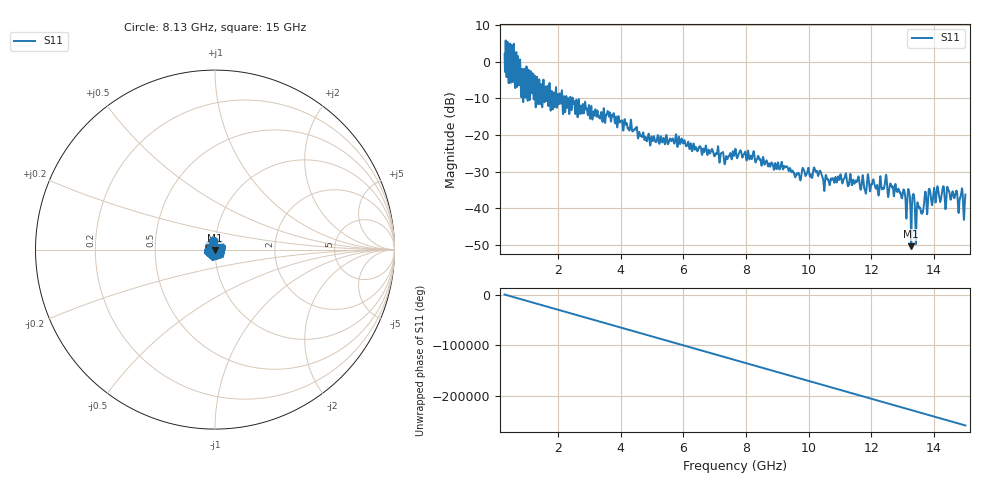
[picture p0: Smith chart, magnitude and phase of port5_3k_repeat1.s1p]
# GHZ S RI R 50.0
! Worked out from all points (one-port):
!   12801 points, 300 MHz to 15 GHz, reference 50 ohm
!   lowest |S11| = -50.4 dB at 13.27 GHz (marker M1), VSWR 1.01, Z = 49.8 - j0.197 ohm
!   |S11| at or under -10 dB: 2.33 GHz to 2.393 GHz (62.26 MHz wide, 2.64 % of centre); 2.403 GHz to 2.465 GHz (61.52 MHz wide, 2.53 % of centre); 2.475 GHz to end of sweep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
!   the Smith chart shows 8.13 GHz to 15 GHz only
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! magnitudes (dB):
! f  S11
! 300 MHz  2.1
! 490.6 MHz  -2.4
! 535.4 MHz  1.4
! 690.5 MHz  -5.6
! 734.1 MHz  -0.4
! 897.2 MHz  -10.8
! 1.193 GHz  -3.4
! 1.303 GHz  -11.9
! 2.138 GHz  -9.6
! 3.975 GHz  -16.6
! 4.805 GHz  -20.9
! 5.812 GHz  -23.3
! 7.359 GHz  -26.1
! 7.65 GHz  -24.4
! 9.488 GHz  -29.7
! 10.21 GHz  -29.7
! 10.48 GHz  -33.2
! 11.32 GHz  -30.7
! 12.06 GHz  -32.2
! 12.19 GHz  -33.7
! 12.44 GHz  -32.7
! 13.16 GHz  -35.7
! 13.27 GHz  -50.4
! 13.47 GHz  -38.6
! 13.52 GHz  -39.8
! 13.6 GHz  -41.4
! 14.06 GHz  -37.9
! 15 GHz  -36.3
